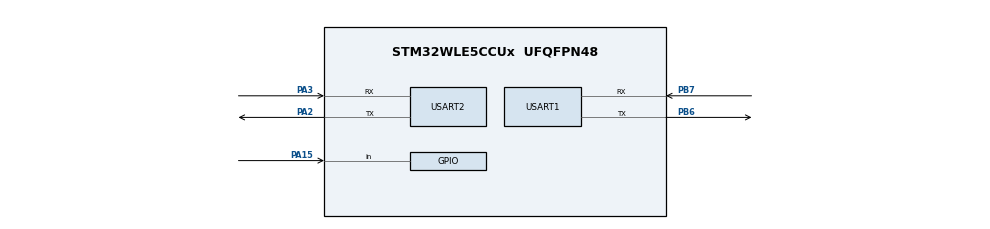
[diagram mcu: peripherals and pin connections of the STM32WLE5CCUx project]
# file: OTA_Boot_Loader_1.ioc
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CRC.InputDataFormat=CRC_INPUTDATA_FORMAT_BYTES
Mcu.Family=STM32WL
Mcu.Name=STM32WLE5CCUx
Mcu.Package=UFQFPN48
NVIC.PriorityGroup=NVIC_PRIORITYGROUP_4
NVIC.TIM1_UP_IRQn=true\:15\:0\:false\:false\:true\:false\:true\:true
NVIC.TimeBase=TIM1_UP_IRQn
NVIC.TimeBaseIP=TIM1
PA15.Signal=GPIO_Input
PA2.Mode=Asynchronous
PA2.Signal=USART2_TX
PA3.Mode=Asynchronous
PA3.Signal=USART2_RX
PB6.Mode=Asynchronous
PB6.Signal=USART1_TX
PB7.Mode=Asynchronous
PB7.Signal=USART1_RX
ProjectManager.HeapSize=0x200
ProjectManager.StackSize=0x400
ProjectManager.TargetToolchain=STM32CubeIDE
RCC.AHBFreq_Value=48000000
RCC.APB1Freq_Value=48000000
RCC.APB1TimFreq_Value=48000000
RCC.APB2Freq_Value=48000000
RCC.APB2TimFreq_Value=48000000
RCC.APB3Freq_Value=48000000
RCC.CortexFreq_Value=48000000
RCC.HCLKFreq_Value=48000000
RCC.HSE_VALUE=8000000
RCC.HSI_VALUE=16000000
RCC.LSE_VALUE=32768
RCC.MSIClockRange=RCC_MSIRANGE_11
RCC.SYSCLKFreq_VALUE=48000000
RCC.VCOOutputFreq_Value=384000000
USART1.VirtualMode-Asynchronous=VM_ASYNC
USART2.VirtualMode-Asynchronous=VM_ASYNC
VP_CRC_VS_CRC.Mode=CRC_Activate
VP_SYS_VS_tim1.Mode=TIM1
board=custom

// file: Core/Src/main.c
/* USER CODE BEGIN Header */
/**
  ******************************************************************************
  * @file           : main.c
  * @brief          : Main program body
  ******************************************************************************
  * @attention
  *
  * Copyright (c) 2023 STMicroelectronics.
  * All rights reserved.
  *
  * This software is licensed under terms that can be found in the LICENSE file
  * in the root directory of this software component.
  * If no LICENSE file comes with this software, it is provided AS-IS.
  *
  ******************************************************************************
  */
/* USER CODE END Header */
#include "main.h"

/* USER CODE BEGIN Includes */
#include "string.h"
#include "stdio.h"
#include "OTA_Upload.h"
#include "OTA_Flash_Config.h"
/* USER CODE END Includes */

CRC_HandleTypeDef hcrc;

UART_HandleTypeDef huart1;
UART_HandleTypeDef huart2;

/* USER CODE BEGIN PV */
uint8_t BootLoaderVersion = 2;
/* USER CODE END PV */

void SystemClock_Config(void);
static void MX_GPIO_Init(void);
static void MX_USART1_UART_Init(void);
static void MX_USART2_UART_Init(void);
static void MX_CRC_Init(void);
/* USER CODE BEGIN PFP */
typedef void (*pFunction)(void);
static void goto_application(void);
void deinitEverything();
void UART_Send_Resp( uint8_t type );
PUTCHAR_PROTOTYPE
{
  HAL_UART_Transmit(&huart2, (uint8_t *)&ch, 1, HAL_MAX_DELAY);
  return ch;
}
/* USER CODE END PFP */

int main(void)
{

  /* MCU Configuration--------------------------------------------------------*/

  /* Reset of all peripherals, Initializes the Flash interface and the Systick. */
  HAL_Init();

  /* Configure the system clock */
  SystemClock_Config();

  /* Initialize all configured peripherals */
  MX_GPIO_Init();
  MX_USART1_UART_Init();
  MX_USART2_UART_Init();
  MX_CRC_Init();
  /* USER CODE BEGIN 2 */

  printf("Starting BootLoader(%d)\r\n", BootLoaderVersion );

  //Read the reboot cause and act accordingly
  printf("Reading the reboot reason...\r\n");

  OTA_Pra_GNRL_CFG_ *cfg          = (OTA_Pra_GNRL_CFG_*) (CONFIG_FLASH_ADDR);
  bool          goto_ota_mode = false;

  switch( cfg->reboot_cause )
  {
  case OTA_NORMAL_BOOT:
    {
      /*
       * It is a normal boot. So, do nothing here.
       */

      printf("Normal Boot\r\n");
      break;
    }
  case OTA_REQUEST:
  case OTA_FIRST_TIME_BOOT:
    {
      /*
       * Application has requested for the OTA update or this is the first
       * time boot. So, don't wait for the user to press the button.
       * Directly go to OTA mode.
       */

     UART_Send_Resp( OTA_Pra_ACK );
      printf("First time boot / OTA Request...\r\n");
      printf("Going to OTA mode...\r\n");

      OTA_Pra_GNRL_CFG_ *cfg_holdPr   = (OTA_Pra_GNRL_CFG_*) (CONFIG_FLASH_ADDR);
      OTA_Pra_GNRL_CFG_ cfg;
      memcpy( &cfg, cfg_holdPr, sizeof(OTA_Pra_GNRL_CFG_) );
      cfg.reboot_cause = OTA_NORMAL_BOOT;
      if( OTA_Write_cfg_to_flash( &cfg ) != HAL_OK )
      {
        printf("Config_Write error\r\n");
      }
      else
      {
      	printf("OTA Request Verified Rebooting!!!\r\n");

      }

      goto_ota_mode = true;
      break;
    }
  case OTA_LOAD_PREV_APP:
    {
      //TODO: Implement
      break;
    }
  default:
    /* should not get here */
    break;
  };

  /* Check the GPIO for 3 seconds */
  GPIO_PinState OTA_Pin_state;
  uint32_t end_tick = HAL_GetTick() + 90;   // from now to 1 Seconds

  /*Start the Firmware or Application update */
  if( ( OTA_Pin_state == GPIO_PIN_SET ) || ( goto_ota_mode ) )
  {
    printf("Starting Firmware Download!!!\r\n");
    /* OTA Request. Receive the data from the UART4 and flash */
    if( OTA_Download_And_Flash() != OTA_Value_Fun_OK )
    {
      /* Error. Don't process. */
      printf("OTA Update : ERROR!!!\r\n");
    }
    else
    {
      /* Reset to load the new application */
      printf("Firmware update is done!!! Rebooting...\r\n");
      HAL_NVIC_SystemReset();
    }
  }

  load_new_app();
  goto_application();

  /* USER CODE END 2 */

  /* Infinite loop */
  while (1)
  {

    /* USER CODE BEGIN 3 */
	  printf(">");
  }
  /* USER CODE END 3 */
}

void SystemClock_Config(void)
{
  RCC_OscInitTypeDef RCC_OscInitStruct = {0};
  RCC_ClkInitTypeDef RCC_ClkInitStruct = {0};

  /** Configure the main internal regulator output voltage
  */
  __HAL_PWR_VOLTAGESCALING_CONFIG(PWR_REGULATOR_VOLTAGE_SCALE1);

  /** Initializes the CPU, AHB and APB buses clocks
  */
  RCC_OscInitStruct.OscillatorType = RCC_OSCILLATORTYPE_MSI;
  RCC_OscInitStruct.MSIState = RCC_MSI_ON;
  RCC_OscInitStruct.MSICalibrationValue = RCC_MSICALIBRATION_DEFAULT;
  RCC_OscInitStruct.MSIClockRange = RCC_MSIRANGE_11;
  RCC_OscInitStruct.PLL.PLLState = RCC_PLL_NONE;
  if (HAL_RCC_OscConfig(&RCC_OscInitStruct) != HAL_OK)
  {
    Error_Handler();
  }

  /** Configure the SYSCLKSource, HCLK, PCLK1 and PCLK2 clocks dividers
  */
  RCC_ClkInitStruct.ClockType = RCC_CLOCKTYPE_HCLK3|RCC_CLOCKTYPE_HCLK
                              |RCC_CLOCKTYPE_SYSCLK|RCC_CLOCKTYPE_PCLK1
                              |RCC_CLOCKTYPE_PCLK2;
  RCC_ClkInitStruct.SYSCLKSource = RCC_SYSCLKSOURCE_MSI;
  RCC_ClkInitStruct.AHBCLKDivider = RCC_SYSCLK_DIV1;
  RCC_ClkInitStruct.APB1CLKDivider = RCC_HCLK_DIV1;
  RCC_ClkInitStruct.APB2CLKDivider = RCC_HCLK_DIV1;
  RCC_ClkInitStruct.AHBCLK3Divider = RCC_SYSCLK_DIV1;

  if (HAL_RCC_ClockConfig(&RCC_ClkInitStruct, FLASH_LATENCY_2) != HAL_OK)
  {
    Error_Handler();
  }
}

static void MX_CRC_Init(void)
{

  hcrc.Instance = CRC;
  hcrc.Init.DefaultPolynomialUse = DEFAULT_POLYNOMIAL_ENABLE;
  hcrc.Init.DefaultInitValueUse = DEFAULT_INIT_VALUE_ENABLE;
  hcrc.Init.InputDataInversionMode = CRC_INPUTDATA_INVERSION_NONE;
  hcrc.Init.OutputDataInversionMode = CRC_OUTPUTDATA_INVERSION_DISABLE;
  hcrc.InputDataFormat = CRC_INPUTDATA_FORMAT_BYTES;
  if (HAL_CRC_Init(&hcrc) != HAL_OK)
  {
    Error_Handler();
  }

}

static void MX_USART1_UART_Init(void)
{

  huart1.Instance = USART1;
  huart1.Init.BaudRate = 115200;
  huart1.Init.WordLength = UART_WORDLENGTH_8B;
  huart1.Init.StopBits = UART_STOPBITS_1;
  huart1.Init.Parity = UART_PARITY_NONE;
  huart1.Init.Mode = UART_MODE_TX_RX;
  huart1.Init.HwFlowCtl = UART_HWCONTROL_NONE;
  huart1.Init.OverSampling = UART_OVERSAMPLING_16;
  huart1.Init.OneBitSampling = UART_ONE_BIT_SAMPLE_DISABLE;
  huart1.Init.ClockPrescaler = UART_PRESCALER_DIV1;
  huart1.AdvancedInit.AdvFeatureInit = UART_ADVFEATURE_NO_INIT;
  if (HAL_UART_Init(&huart1) != HAL_OK)
  {
    Error_Handler();
  }
  if (HAL_UARTEx_SetTxFifoThreshold(&huart1, UART_TXFIFO_THRESHOLD_1_8) != HAL_OK)
  {
    Error_Handler();
  }
  if (HAL_UARTEx_SetRxFifoThreshold(&huart1, UART_RXFIFO_THRESHOLD_1_8) != HAL_OK)
  {
    Error_Handler();
  }
  if (HAL_UARTEx_DisableFifoMode(&huart1) != HAL_OK)
  {
    Error_Handler();
  }

}

static void MX_USART2_UART_Init(void)
{

  huart2.Instance = USART2;
  huart2.Init.BaudRate = 115200;
  huart2.Init.WordLength = UART_WORDLENGTH_8B;
  huart2.Init.StopBits = UART_STOPBITS_1;
  huart2.Init.Parity = UART_PARITY_NONE;
  huart2.Init.Mode = UART_MODE_TX_RX;
  huart2.Init.HwFlowCtl = UART_HWCONTROL_NONE;
  huart2.Init.OverSampling = UART_OVERSAMPLING_16;
  huart2.Init.OneBitSampling = UART_ONE_BIT_SAMPLE_DISABLE;
  huart2.Init.ClockPrescaler = UART_PRESCALER_DIV1;
  huart2.AdvancedInit.AdvFeatureInit = UART_ADVFEATURE_NO_INIT;
  if (HAL_UART_Init(&huart2) != HAL_OK)
  {
    Error_Handler();
  }
  if (HAL_UARTEx_SetTxFifoThreshold(&huart2, UART_TXFIFO_THRESHOLD_1_8) != HAL_OK)
  {
    Error_Handler();
  }
  if (HAL_UARTEx_SetRxFifoThreshold(&huart2, UART_RXFIFO_THRESHOLD_1_8) != HAL_OK)
  {
    Error_Handler();
  }
  if (HAL_UARTEx_DisableFifoMode(&huart2) != HAL_OK)
  {
    Error_Handler();
  }

}

static void MX_GPIO_Init(void)
{
  GPIO_InitTypeDef GPIO_InitStruct = {0};

  /* GPIO Ports Clock Enable */
  __HAL_RCC_GPIOB_CLK_ENABLE();
  __HAL_RCC_GPIOA_CLK_ENABLE();

  /*Configure GPIO pin : PA15 */
  GPIO_InitStruct.Pin = GPIO_PIN_15;
  GPIO_InitStruct.Mode = GPIO_MODE_INPUT;
  GPIO_InitStruct.Pull = GPIO_NOPULL;
  HAL_GPIO_Init(GPIOA, &GPIO_InitStruct);

}

/* USER CODE BEGIN 4 */

 void UART_Send_Resp( uint8_t type )
{
	printf("Sending the AKL for OTA Intimated\r\n");
  OTA_Pra_RESP_ rsp =
  {
    .sof         = OTA_Pra_SOF,
    .packet_type = OTA_Value_PACKET_TYPE_RESPONSE,
    .data_len    = 1u,
    .status      = type,
    .eof         = OTA_Pra_EOF
  };

  // Create a temporary uint32_t variable
  uint32_t temp_crc_input = 0;
  // Copy the status byte into the least significant byte of the temporary variable
  memcpy(&temp_crc_input, &rsp.status, sizeof(rsp.status));
  // Calculate CRC
  rsp.crc = HAL_CRC_Calculate(&hcrc, &temp_crc_input, 1);

  //send response
  uint8_t dummy;
  while(__HAL_UART_GET_FLAG(&huart1, UART_FLAG_RXNE) != RESET)
  {
      HAL_UART_Receive(&huart1, &dummy, 1, 0);
  }

  HAL_UART_Transmit(&huart1, (uint8_t *)&rsp, sizeof(OTA_Pra_RESP_), HAL_MAX_DELAY);
  printf("Sending the AKL for OTA Intimated done\r\n");

}

void deinitEverything()
{
    // Deinitialize CRC peripheral
    HAL_CRC_DeInit(&hcrc);

    // Deinitialize UART peripherals
    HAL_UART_DeInit(&huart1);
    HAL_UART_DeInit(&huart2);
    // Deinitialize all used GPIOs
    // Replace GPIOx and pin numbers with actual GPIO ports and pins used in your application
    HAL_GPIO_DeInit(GPIOA, GPIO_PIN_15); // Replace GPIO_PIN_X with actual pin numbers
//    HAL_GPIO_DeInit(GPIOB, GPIO_PIN_Y); // Replace GPIO_PIN_Y with actual pin numbers
    // Add more HAL_GPIO_DeInit() calls for other GPIOs if necessary

    // Disable GPIO clocks
    __HAL_RCC_GPIOA_CLK_DISABLE();
    __HAL_RCC_GPIOB_CLK_DISABLE();
    // Disable other GPIO clocks if used

    // Reset the RCC (Reset and Clock Control) to default values
    HAL_RCC_DeInit();

    // Deinitialize the HAL
    HAL_DeInit();

    // Reset SysTick Timer
    SysTick->CTRL = 0;
    SysTick->LOAD = 0;
    SysTick->VAL = 0;

    // Other deinitializations if any (e.g., disabling other peripherals, resetting specific configurations, etc.)
}

static void goto_application(void) {

	printf("Gonna Jump to Application %08X\r\n", ApplFLASH_BASE);

	uint32_t JumpAddress;
	pFunction Jump_To_Application;

	printf("Gonna Jump to Application1\r\n");

	deinitEverything();

	//jump to the application
//	JumpAddress = *(uint32_t*) ((cfg_1->BootAddress) + 4);
	JumpAddress = *(uint32_t*) ((ApplFLASH_BASE) + 4);
	Jump_To_Application = (pFunction) JumpAddress;
	//initialize application's stack pointer
//	__set_MSP(*(uint32_t*) (cfg_1->BootAddress));
	__set_MSP(*(uint32_t*) (ApplFLASH_BASE));
	Jump_To_Application();
}

/* USER CODE END 4 */

void HAL_TIM_PeriodElapsedCallback(TIM_HandleTypeDef *htim)
{
  if (htim->Instance == TIM1) {
    HAL_IncTick();
  }
}

void Error_Handler(void)
{
  __disable_irq();
  while (1)
  {
  }
}
